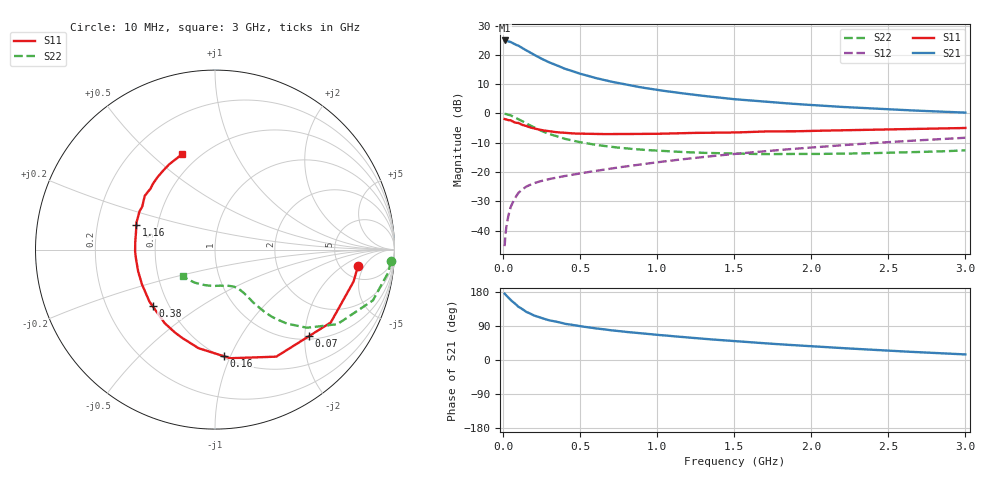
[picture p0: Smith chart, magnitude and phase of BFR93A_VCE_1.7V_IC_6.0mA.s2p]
! Infineon Technologies  Discrete & RF Semiconductors
! BFR93A
! VCE =  1.7 V,  IC =  6.0 mA
! Common Emitter S-Parameters:  Nov 2015
# GHz  S  MA  R  50
!  f  S11  S21  S12  S22
! GHz  MAG  ANG  MAG  ANG  MAG  ANG  MAG  ANG
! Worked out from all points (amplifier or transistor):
!   180 points, 10 MHz to 3 GHz, reference 50 ohm
!   highest |S21| = 24.9 dB at 10 MHz (marker M1)
!   |S21| within 3 dB of that: start of sweep to 137.9 MHz
!   unconditionally stable (mu >= 1): 675.6 MHz to end of sweep
!   at 160 MHz: K = 0.38, MSG = 23.0 dB, |S12| = -24.8 dB
!   at 1.22 GHz: K = 1.13, MAG = 8.8 dB, |S12| = -15.3 dB
!   at 3 GHz: K = 1.00, MAG = 3.9 dB, |S12| = -8.3 dB
!   S11 on the Smith chart (normalised r, x): 10 MHz: 7.16, -3.69; 70 MHz: 1.08, -2.10; 160 MHz: 0.51, -0.95; 380 MHz: 0.41, -0.33; 1.16 GHz: 0.38, +0.13; 3 GHz: 0.41, +0.63
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0.01  0.8018 -6.6  17.59 175.2  0.0054 87.2  0.9819 -3.8
0.02  0.7922 -13.0  17.43 170.6  0.0109 81.4  0.9744 -7.4
0.05  0.7622 -32.2  16.54 157.7  0.0254 74.1  0.9244 -17.8
0.07  0.7119 -42.6  15.48 151.4  0.0327 67.8  0.8681 -22.8
0.1  0.6873 -60.2  14.3 140.4  0.0441 62.3  0.7979 -31.4
0.15  0.6111 -82.0  11.95 127.1  0.0561 54.8  0.6729 -40.3
0.16  0.596 -85.2  11.55 125.5  0.0577 54.0  0.653 -41.3
0.2  0.5569 -99.5  10.04 117.6  0.0641 51.0  0.5755 -45.8
0.26  0.5137 -115.5  8.322 109.2  0.0714 48.8  0.489 -49.8
0.3  0.4965 -124.4  7.424 104.6  0.0756 48.2  0.4446 -51.5
0.38  0.4691 -137.9  6.11 97.9  0.0832 48.4  0.3833 -53.4
0.4  0.4665 -141.4  5.798 95.7  0.0851 48.4  0.3681 -54.0
0.52  0.4486 -156.3  4.607 88.0  0.0963 49.7  0.3153 -55.4
0.6  0.445 -164.2  4.024 83.5  0.1041 50.7  0.2898 -56.4
0.7  0.4433 -171.8  3.491 78.5  0.1143 51.9  0.2684 -57.7
0.86  0.4454 177.6  2.894 71.9  0.131 53.3  0.2445 -60.4
1.02  0.4492 168.8  2.473 65.7  0.1484 53.9  0.2296 -63.6
1.16  0.4592 162.5  2.209 60.9  0.1641 54.1  0.2194 -67.6
1.52  0.4729 148.7  1.731 49.2  0.205 53.5  0.2048 -79.2
2.02  0.5042 133.2  1.379 35.9  0.2639 50.4  0.2029 -98.1
2.52  0.5328 120.6  1.167 24.3  0.3255 45.6  0.2131 -118.6
3  0.5635 108.8  1.031 14.7  0.3834 39.9  0.2338 -140.2
